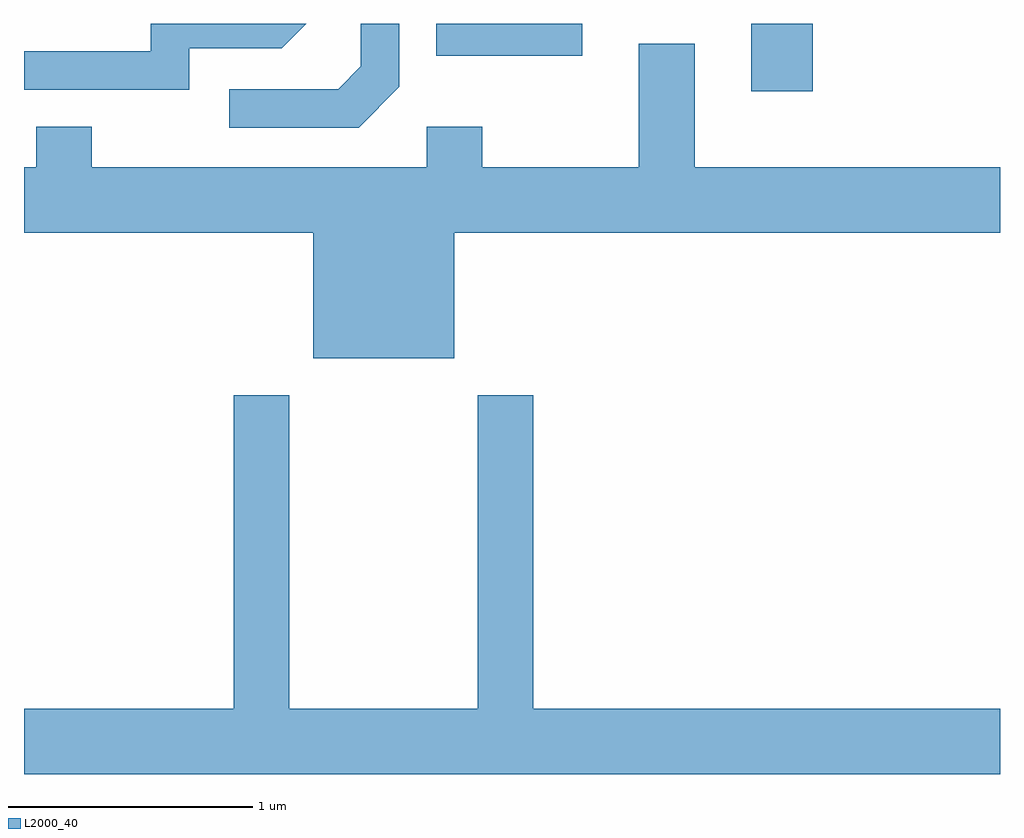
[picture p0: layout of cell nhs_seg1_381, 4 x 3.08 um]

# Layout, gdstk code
import gdstk
lib = gdstk.Library(unit=1e-6, precision=1e-09)
def R(c, l, rs):  # rectangles x0, y0, x1, y1
    for r in rs: c.add(gdstk.rectangle(r[:2], r[2:], *l))
def P(c, l, *ps):  # polygons
    for p in ps: c.add(gdstk.Polygon(p, *l))
L2000_40 = (2000, 40)

nhs_seg1_381 = lib.new_cell('nhs_seg1_381')
R(nhs_seg1_381, L2000_40, [(198.591,953.436,198.844,953.712), (197.301,953.581,197.899,953.712)])
P(nhs_seg1_381, L2000_40, [(197.149,953.454),(197.149,953.712),(196.991,953.712),(196.991,953.537),(196.899,953.444),(196.453,953.444),(196.453,953.286),(196.982,953.286)],
  [(196.289,953.611),(196.667,953.611),(196.767,953.712),(196.131,953.712),(196.131,953.599),(195.611,953.599),(195.611,953.441),(196.289,953.441)],
  [(197.374,952.856),(199.611,952.856),(199.611,953.124),(198.359,953.124),(198.359,953.629),(198.131,953.629),(198.131,953.124),(197.489,953.124),(197.489,953.289),(197.261,953.289),(197.261,953.124),(195.889,953.124),(195.889,953.289),(195.661,953.289),(195.661,953.124),(195.611,953.124),(195.611,952.856),(196.796,952.856),(196.796,952.341),(197.374,952.341)],
  [(199.611,950.904),(197.699,950.904),(197.699,952.189),(197.471,952.189),(197.471,950.904),(196.699,950.904),(196.699,952.189),(196.471,952.189),(196.471,950.904),(195.611,950.904),(195.611,950.636),(199.611,950.636)])

lib.write_gds('nhs_seg1_381.gds')
